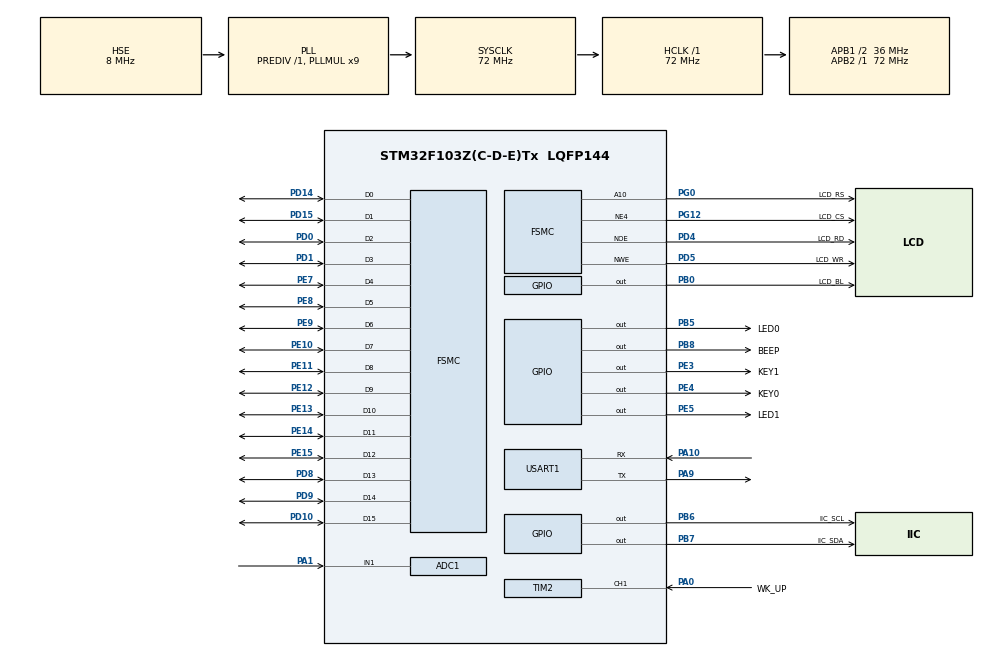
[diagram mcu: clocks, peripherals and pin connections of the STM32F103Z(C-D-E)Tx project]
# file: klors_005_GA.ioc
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ADC1.Channel-0\#ChannelRegularConversion=ADC_CHANNEL_1
ADC1.NbrOfConversionFlag=1
ADC1.Rank-0\#ChannelRegularConversion=1
ADC1.SamplingTime-0\#ChannelRegularConversion=ADC_SAMPLETIME_1CYCLE_5
ADC1.master=1
FSMC.AddressSetupTime1=0
FSMC.BusTurnAroundDuration1=15
FSMC.DataSetupTime1=15
FSMC.ExtendedAddressSetupTime1=0
FSMC.ExtendedDataSetupTime1=1
FSMC.ExtendedMode1=FSMC_EXTENDED_MODE_ENABLE
Mcu.Family=STM32F1
Mcu.Name=STM32F103Z(C-D-E)Tx
Mcu.Package=LQFP144
NVIC.PriorityGroup=NVIC_PRIORITYGROUP_2
NVIC.TIM2_IRQn=true\:2\:0\:true\:false\:true\:true\:true\:true
NVIC.USART1_IRQn=true\:2\:2\:true\:false\:true\:true\:true\:true
OSC_IN.Mode=HSE-External-Oscillator
OSC_IN.Signal=RCC_OSC_IN
OSC_OUT.Mode=HSE-External-Oscillator
OSC_OUT.Signal=RCC_OSC_OUT
PA0-WKUP.GPIO_Label=WK_UP
PA0-WKUP.GPIO_PuPd=GPIO_PULLDOWN
PA0-WKUP.Signal=S_TIM2_CH1_ETR
PA1.Signal=ADCx_IN1
PA10.Mode=Asynchronous
PA10.Signal=USART1_RX
PA13.Mode=Serial_Wire
PA13.Signal=SYS_JTMS-SWDIO
PA14.Mode=Serial_Wire
PA14.Signal=SYS_JTCK-SWCLK
PA9.Mode=Asynchronous
PA9.Signal=USART1_TX
PB0.GPIO_Label=LCD_BL
PB0.GPIO_PuPd=GPIO_PULLUP
PB0.GPIO_Speed=GPIO_SPEED_FREQ_HIGH
PB0.PinState=GPIO_PIN_SET
PB0.Signal=GPIO_Output
PB5.GPIO_Label=LED0
PB5.GPIO_PuPd=GPIO_PULLUP
PB5.GPIO_Speed=GPIO_SPEED_FREQ_HIGH
PB5.PinState=GPIO_PIN_SET
PB5.Signal=GPIO_Output
PB6.GPIO_Label=IIC_SCL
PB6.GPIO_PuPd=GPIO_PULLUP
PB6.GPIO_Speed=GPIO_SPEED_FREQ_HIGH
PB6.PinState=GPIO_PIN_SET
PB6.Signal=GPIO_Output
PB7.GPIO_Label=IIC_SDA
PB7.GPIO_PuPd=GPIO_PULLUP
PB7.GPIO_Speed=GPIO_SPEED_FREQ_HIGH
PB7.PinState=GPIO_PIN_SET
PB7.Signal=GPIO_Output
PB8.GPIO_Label=BEEP
PB8.GPIO_ModeDefaultOutputPP=GPIO_MODE_OUTPUT_PP
PB8.GPIO_PuPd=GPIO_PULLDOWN
PB8.GPIO_Speed=GPIO_SPEED_FREQ_HIGH
PB8.PinState=GPIO_PIN_RESET
PB8.Signal=GPIO_Output
PC14-OSC32_IN.Mode=LSE-External-Oscillator
PC14-OSC32_IN.Signal=RCC_OSC32_IN
PC15-OSC32_OUT.Mode=LSE-External-Oscillator
PC15-OSC32_OUT.Signal=RCC_OSC32_OUT
PD0.Signal=FSMC_D2_DA2
PD1.Signal=FSMC_D3_DA3
PD10.Signal=FSMC_D15_DA15
PD14.Signal=FSMC_D0_DA0
PD15.Signal=FSMC_D1_DA1
PD4.GPIO_Label=LCD_RD
PD4.Signal=FSMC_NOE
PD5.GPIO_Label=LCD_WR
PD5.Signal=FSMC_NWE
PD8.Signal=FSMC_D13_DA13
PD9.Signal=FSMC_D14_DA14
PE10.Signal=FSMC_D7_DA7
PE11.Signal=FSMC_D8_DA8
PE12.Signal=FSMC_D9_DA9
PE13.Signal=FSMC_D10_DA10
PE14.Signal=FSMC_D11_DA11
PE15.Signal=FSMC_D12_DA12
PE3.GPIO_Label=KEY1
PE3.GPIO_PuPd=GPIO_PULLUP
PE3.GPIO_Speed=GPIO_SPEED_FREQ_HIGH
PE3.PinState=GPIO_PIN_SET
PE3.Signal=GPIO_Output
PE4.GPIO_Label=KEY0
PE4.GPIO_PuPd=GPIO_PULLUP
PE4.GPIO_Speed=GPIO_SPEED_FREQ_HIGH
PE4.PinState=GPIO_PIN_SET
PE4.Signal=GPIO_Output
PE5.GPIO_Label=LED1
PE5.GPIO_PuPd=GPIO_PULLUP
PE5.GPIO_Speed=GPIO_SPEED_FREQ_HIGH
PE5.PinState=GPIO_PIN_SET
PE5.Signal=GPIO_Output
PE7.Signal=FSMC_D4_DA4
PE8.Signal=FSMC_D5_DA5
PE9.Signal=FSMC_D6_DA6
PG0.GPIO_Label=LCD_RS
PG0.Signal=FSMC_A10
PG12.GPIO_Label=LCD_CS
PG12.Mode=NorPsramChipSelect4_1
PG12.Signal=FSMC_NE4
ProjectManager.HeapSize=0x200
ProjectManager.StackSize=0x400
ProjectManager.TargetToolchain=STM32CubeIDE
RCC.ADCPresc=RCC_ADCPCLK2_DIV6
RCC.AHBFreq_Value=72000000
RCC.APB1CLKDivider=RCC_HCLK_DIV2
RCC.APB1Freq_Value=36000000
RCC.APB1TimFreq_Value=72000000
RCC.APB2Freq_Value=72000000
RCC.APB2TimFreq_Value=72000000
RCC.HCLKFreq_Value=72000000
RCC.PLLMUL=RCC_PLL_MUL9
RCC.PLLSourceVirtual=RCC_PLLSOURCE_HSE
RCC.SYSCLKFreq_VALUE=72000000
RCC.SYSCLKSource=RCC_SYSCLKSOURCE_PLLCLK
RCC.USBFreq_Value=72000000
SH.ADCx_IN1.0=ADC1_IN1,IN1
SH.FSMC_A10.0=FSMC_A10,A10_1
SH.FSMC_D0_DA0.0=FSMC_D0,16b-d1
SH.FSMC_D10_DA10.0=FSMC_D10,16b-d1
SH.FSMC_D11_DA11.0=FSMC_D11,16b-d1
SH.FSMC_D12_DA12.0=FSMC_D12,16b-d1
SH.FSMC_D13_DA13.0=FSMC_D13,16b-d1
SH.FSMC_D14_DA14.0=FSMC_D14,16b-d1
SH.FSMC_D15_DA15.0=FSMC_D15,16b-d1
SH.FSMC_D1_DA1.0=FSMC_D1,16b-d1
SH.FSMC_D2_DA2.0=FSMC_D2,16b-d1
SH.FSMC_D3_DA3.0=FSMC_D3,16b-d1
SH.FSMC_D4_DA4.0=FSMC_D4,16b-d1
SH.FSMC_D5_DA5.0=FSMC_D5,16b-d1
SH.FSMC_D6_DA6.0=FSMC_D6,16b-d1
SH.FSMC_D7_DA7.0=FSMC_D7,16b-d1
SH.FSMC_D8_DA8.0=FSMC_D8,16b-d1
SH.FSMC_D9_DA9.0=FSMC_D9,16b-d1
SH.FSMC_NOE.0=FSMC_NOE,Lcd1
SH.FSMC_NWE.0=FSMC_NWE,Lcd1
SH.S_TIM2_CH1_ETR.0=TIM2_CH1,Input_Capture1_from_TI1
STMicroelectronics.X-CUBE-ALGOBUILD.1.4.0.LibraryCcDSPOoLibraryJjDSPOoLibrary=true
TIM2.Channel-Input_Capture1_from_TI1=TIM_CHANNEL_1
TIM2.Prescaler=72 - 1
USART1.VirtualMode=VM_ASYNC
VP_STMicroelectronics.X-CUBE-ALGOBUILD_VS_DSPOoLibraryJjLibrary_1.4.0_1.4.0.Mode=DSPOoLibraryJjLibrary
VP_TIM2_VS_ClockSourceINT.Mode=Internal
board=custom

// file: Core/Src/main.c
/* USER CODE BEGIN Header */

/* USER CODE END Header */
#include "main.h"
#include "adc.h"
#include "tim.h"
#include "usart.h"
#include "gpio.h"
#include "fsmc.h"

/* USER CODE BEGIN Includes */
#include "AD9959.h"
#include "interface.h"

#include "../../BSP/LED/led.h"
#include "../../BSP/BEEP/beep.h"
#include "../../BSP/KEY/key.h"
#include "../../BSP/LCD/lcd.h"
#include "../../BSP/24CXX/24cxx.h"
#include "../../BSP/TOUCH/touch.h"
#include "../../SYSTEM/delay/delay.h"
#include "../../SYSTEM/sys/sys.h"
/* USER CODE END Includes */

void SystemClock_Config(void);

int main(void)
{

  /* MCU Configuration--------------------------------------------------------*/

  /* Reset of all peripherals, Initializes the Flash interface and the Systick. */
  HAL_Init();

  /* Configure the system clock */
  SystemClock_Config();

  /* USER CODE BEGIN SysInit */
  delay_init(72);
  /* USER CODE END SysInit */

  /* Initialize all configured peripherals */
  MX_GPIO_Init();
  MX_FSMC_Init();
  MX_USART1_UART_Init();
  MX_ADC1_Init();
  MX_TIM2_Init();
  /* USER CODE BEGIN 2 */
  lcd_init();
  tp_dev.init();

  Init_AD9959();

  /* USER CODE END 2 */

  /* Infinite loop */
  /* USER CODE BEGIN WHILE */
  while (1)
  {
      switch (current_page) {
          case PAGE_MAIN:
              maingui();
              break;
          case PAGE_DDS:
              ddsgui();
              break;
          case PAGE_SDD:
              sddgui();
              break;
          case PAGE_LEARN:
              learngui();
              break;
          case PAGE_EXPLORE:
              exploregui();
              break;
          case PAGE_NUM:
              numgui();
              break;
          case PAGE_Author:
              authorgui();
              break;
          case PAGE_INFO:
              infogui();
              break;
      }
      delay_ms(20);
      // Write_Freq(1, 500);
      // Write_Amplitude(1, 100 * 0.2636 + 0.24);
      // Write_Phase(1, 0);
      // IO_Update();
    /* USER CODE END WHILE */

  }
}

void SystemClock_Config(void)
{
  RCC_OscInitTypeDef RCC_OscInitStruct = {0};
  RCC_ClkInitTypeDef RCC_ClkInitStruct = {0};
  RCC_PeriphCLKInitTypeDef PeriphClkInit = {0};

  /** Initializes the RCC Oscillators according to the specified parameters
  * in the RCC_OscInitTypeDef structure.
  */
  RCC_OscInitStruct.OscillatorType = RCC_OSCILLATORTYPE_HSE;
  RCC_OscInitStruct.HSEState = RCC_HSE_ON;
  RCC_OscInitStruct.HSEPredivValue = RCC_HSE_PREDIV_DIV1;
  RCC_OscInitStruct.HSIState = RCC_HSI_ON;
  RCC_OscInitStruct.PLL.PLLState = RCC_PLL_ON;
  RCC_OscInitStruct.PLL.PLLSource = RCC_PLLSOURCE_HSE;
  RCC_OscInitStruct.PLL.PLLMUL = RCC_PLL_MUL9;
  if (HAL_RCC_OscConfig(&RCC_OscInitStruct) != HAL_OK)
  {
    Error_Handler();
  }

  /** Initializes the CPU, AHB and APB buses clocks
  */
  RCC_ClkInitStruct.ClockType = RCC_CLOCKTYPE_HCLK|RCC_CLOCKTYPE_SYSCLK
                              |RCC_CLOCKTYPE_PCLK1|RCC_CLOCKTYPE_PCLK2;
  RCC_ClkInitStruct.SYSCLKSource = RCC_SYSCLKSOURCE_PLLCLK;
  RCC_ClkInitStruct.AHBCLKDivider = RCC_SYSCLK_DIV1;
  RCC_ClkInitStruct.APB1CLKDivider = RCC_HCLK_DIV2;
  RCC_ClkInitStruct.APB2CLKDivider = RCC_HCLK_DIV1;

  if (HAL_RCC_ClockConfig(&RCC_ClkInitStruct, FLASH_LATENCY_2) != HAL_OK)
  {
    Error_Handler();
  }
  PeriphClkInit.PeriphClockSelection = RCC_PERIPHCLK_ADC;
  PeriphClkInit.AdcClockSelection = RCC_ADCPCLK2_DIV6;
  if (HAL_RCCEx_PeriphCLKConfig(&PeriphClkInit) != HAL_OK)
  {
    Error_Handler();
  }
}

void Error_Handler(void)
{
  __disable_irq();
  while (1)
  {
  }
}
